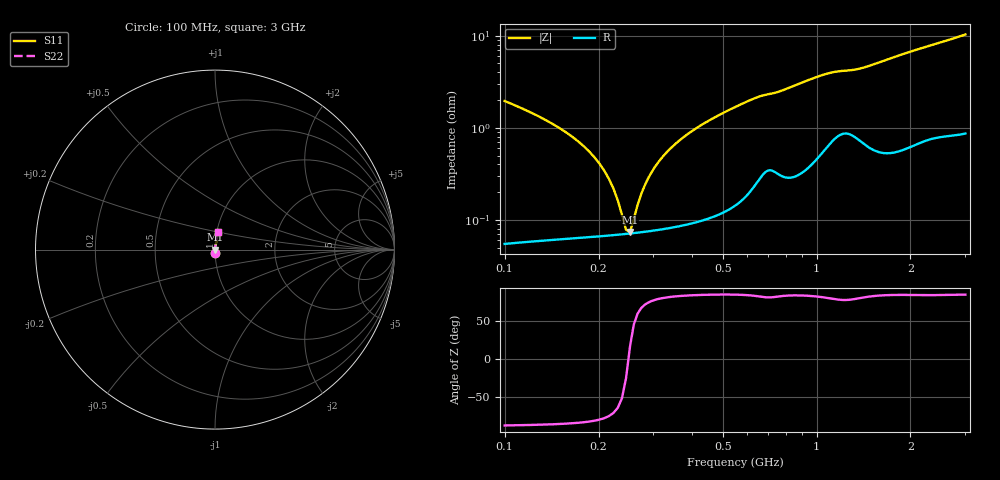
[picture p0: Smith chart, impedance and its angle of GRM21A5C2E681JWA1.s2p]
!Murata Part Number: GRM21A5C2E681JWA1
!These Parameters are Measured in Series Mode Connection
!Data Generated on Mar 30, 2021
!  o--ll--o
!Port1  Port2
!  o------o
!Operation Temp=25[degC], DC Bias Voltage=0[V]
!Freq. Start=100[MHz] Stop=3[GHz] 401[Steps]
# Hz S RI R 50
!Freq.(Hz) S11(Real) S11(Imag) S21(Real) S21(Imag) S12(Real) S12(Imag) S22(Real) S22(Imag)
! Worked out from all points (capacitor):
!   401 points, 100 MHz to 3 GHz, reference 50 ohm
!   read as one part in series: C = 684 pF near 114.5 MHz
!   lowest |Z| = 74.1 mohm at 252.2 MHz (marker M1)
!   series resonance near 249.6 MHz, so ESL is about 590 pH
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1e8  0.000929 -0.0195  0.9991 0.0195  0.9991 0.0195  0.000929 -0.0195
1.435e8  0.000725 -0.0108  0.9993 0.0108  0.9993 0.0108  0.000725 -0.0108
1.87e8  0.00068 -0.00545  0.9993 0.00545  0.9993 0.00545  0.00068 -0.00545
2.015e8  0.000679 -0.00402  0.9993 0.00402  0.9993 0.00402  0.000679 -0.00402
2.16e8  0.000684 -0.0027  0.9993 0.0027  0.9993 0.0027  0.000684 -0.0027
2.3775e8  0.000698 -0.000903  0.9993 0.000903  0.9993 0.000903  0.000698 -0.000903
2.45e8  0.000705 -0.000342  0.9993 0.000342  0.9993 0.000342  0.000705 -0.000342
2.5225e8  0.000712 0.000202  0.9993 -0.000202  0.9993 -0.000202  0.000712 0.000202
2.595e8  0.00072 0.000732  0.9993 -0.000732  0.9993 -0.000732  0.00072 0.000732
2.8125e8  0.000748 0.00224  0.9993 -0.00224  0.9993 -0.00224  0.000748 0.00224
2.9575e8  0.00077 0.00319  0.9992 -0.00319  0.9992 -0.00319  0.00077 0.00319
3.175e8  0.000808 0.00455  0.9992 -0.00455  0.9992 -0.00455  0.000808 0.00455
3.5375e8  0.000883 0.00668  0.9991 -0.00668  0.9991 -0.00668  0.000883 0.00668
3.9725e8  0.000996 0.00907  0.999 -0.00907  0.999 -0.00907  0.000996 0.00907
4.48e8  0.00116 0.0117  0.9988 -0.0117  0.9988 -0.0117  0.00116 0.0117
5.8575e8  0.00206 0.0185  0.9979 -0.0185  0.9979 -0.0185  0.00206 0.0185
6.655e8  0.00344 0.0219  0.9966 -0.0219  0.9966 -0.0219  0.00344 0.0219
1.0715e9  0.00734 0.0374  0.9927 -0.0374  0.9927 -0.0374  0.00734 0.0374
1.55e9  0.00795 0.0488  0.992 -0.0488  0.992 -0.0488  0.00795 0.0488
2.03575e9  0.0108 0.0669  0.9892 -0.0669  0.9892 -0.0669  0.0108 0.0669
2.5215e9  0.0149 0.0829  0.9851 -0.0829  0.9851 -0.0829  0.0149 0.0829
3e9  0.0187 0.0998  0.9813 -0.0998  0.9813 -0.0998  0.0187 0.0998
